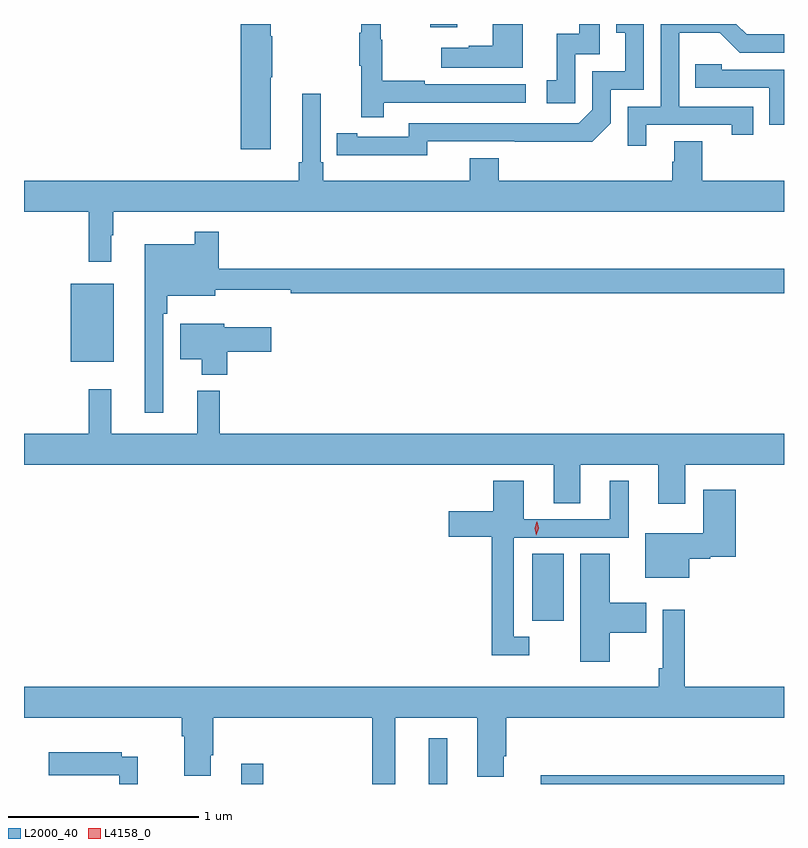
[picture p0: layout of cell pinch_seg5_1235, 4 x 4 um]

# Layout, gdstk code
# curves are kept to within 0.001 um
import gdstk
lib = gdstk.Library(unit=1e-6, precision=1e-09)
def R(c, l, rs):  # rectangles x0, y0, x1, y1
    for r in rs: c.add(gdstk.rectangle(r[:2], r[2:], *l))
def P(c, l, *ps):  # polygons
    for p in ps: c.add(gdstk.Polygon(p, *l))
L2000_40 = (2000, 40)
L4158_0 = (4158, 0)

pinch_seg5_1235 = lib.new_cell('pinch_seg5_1235')
R(pinch_seg5_1235, L2000_40, [(458.615,865.736,458.732,865.843), (459.602,865.736,459.7,865.978), (460.191,865.736,461.472,865.783), (460.148,866.595,460.312,866.948), (457.718,867.959,457.945,868.369), (459.611,869.718,459.751,869.736)])
P(pinch_seg5_1235, L2000_40, [(460.747,869.205),(461.198,869.205),(461.198,869.154),(461.309,869.154),(461.309,869.301),(460.92,869.301),(460.92,869.69),(461.134,869.69),(461.238,869.586),(461.472,869.586),(461.472,869.682),(461.275,869.682),(461.221,869.736),(460.824,869.736),(460.824,869.301),(460.65,869.301),(460.65,869.094),(460.747,869.094)],
  [(460.374,869.577),(460.503,869.577),(460.503,869.736),(460.395,869.736),(460.395,869.686),(460.277,869.686),(460.277,869.439),(460.224,869.439),(460.224,869.319),(460.374,869.319)],
  [(459.365,869.322),(460.114,869.322),(460.114,869.418),(459.581,869.418),(459.581,869.438),(459.358,869.438),(459.358,869.652),(459.35,869.652),(459.35,869.736),(459.248,869.736),(459.248,869.689),(459.237,869.689),(459.237,869.515),(459.248,869.515),(459.248,869.244),(459.365,869.244)],
  [(458.77,869.455),(458.778,869.455),(458.778,869.672),(458.77,869.672),(458.77,869.736),(458.612,869.736),(458.612,869.076),(458.77,869.076)],
  [(460.096,869.736),(459.938,869.736),(459.938,869.621),(459.812,869.621),(459.812,869.611),(459.669,869.611),(459.669,869.507),(460.096,869.507)],
  [(459.594,869.118),(460.462,869.117),(460.56,869.214),(460.56,869.391),(460.734,869.391),(460.734,869.736),(460.588,869.736),(460.588,869.691),(460.637,869.691),(460.637,869.487),(460.464,869.487),(460.464,869.286),(460.392,869.214),(459.498,869.214),(459.498,869.142),(459.226,869.142),(459.226,869.162),(459.118,869.162),(459.118,869.046),(459.594,869.045)],
  [(461.472,869.496),(461.145,869.496),(461.145,869.523),(461.005,869.523),(461.005,869.4),(461.394,869.4),(461.394,869.205),(461.472,869.205)],
  [(457.93,868.625),(457.942,868.625),(457.942,868.748),(461.472,868.748),(461.472,868.912),(461.043,868.912),(461.043,869.12),(460.895,869.12),(460.895,869.01),(460.883,869.01),(460.883,868.912),(459.971,868.912),(459.971,869.029),(459.818,869.029),(459.818,868.912),(459.047,868.912),(459.047,869.008),(459.033,869.008),(459.033,869.368),(458.936,869.368),(458.936,869.008),(458.917,869.008),(458.917,868.912),(457.472,868.912),(457.472,868.748),(457.813,868.748),(457.813,868.485),(457.93,868.485)],
  [(458.205,868.211),(458.225,868.211),(458.225,868.307),(458.479,868.307),(458.479,868.337),(458.875,868.337),(458.875,868.318),(461.472,868.318),(461.472,868.447),(458.498,868.447),(458.498,868.642),(458.37,868.642),(458.37,868.576),(458.108,868.576),(458.108,867.69),(458.205,867.69)],
  [(458.543,868.012),(458.773,868.012),(458.773,868.141),(458.526,868.141),(458.526,868.159),(458.294,868.159),(458.294,867.971),(458.408,867.971),(458.408,867.89),(458.543,867.89)],
  [(460.951,867.416),(461.472,867.416),(461.472,867.58),(458.501,867.58),(458.501,867.805),(458.384,867.805),(458.384,867.58),(457.931,867.58),(457.931,867.814),(457.813,867.814),(457.813,867.58),(457.472,867.58),(457.472,867.416),(460.259,867.416),(460.259,867.214),(460.399,867.214),(460.399,867.416),(460.811,867.416),(460.811,867.21),(460.951,867.21)],
  [(460.132,866.511),(460.05,866.511),(460.05,867.033),(460.654,867.033),(460.654,867.331),(460.556,867.331),(460.556,867.129),(460.102,867.129),(460.102,867.331),(459.941,867.331),(459.941,867.172),(459.708,867.172),(459.708,867.038),(459.934,867.038),(459.934,866.414),(460.132,866.414)],
  [(460.972,866.921),(461.085,866.921),(461.085,866.933),(461.219,866.933),(461.219,867.286),(461.048,867.286),(461.048,867.055),(460.742,867.055),(460.742,866.822),(460.972,866.822)],
  [(460.555,866.531),(460.748,866.531),(460.748,866.689),(460.555,866.689),(460.555,866.948),(460.4,866.948),(460.4,866.379),(460.555,866.379)],
  [(459.427,866.084),(459.857,866.084),(459.857,865.775),(459.997,865.775),(459.997,865.882),(460.01,865.882),(460.01,866.084),(461.472,866.084),(461.472,866.248),(460.949,866.248),(460.949,866.653),(460.833,866.653),(460.833,866.344),(460.813,866.344),(460.813,866.248),(457.472,866.248),(457.472,866.084),(458.303,866.084),(458.303,865.988),(458.315,865.988),(458.315,865.78),(458.455,865.78),(458.455,865.888),(458.468,865.888),(458.468,866.084),(459.306,866.084),(459.306,865.736),(459.427,865.736)],
  [(458.07,865.88),(457.986,865.88),(457.986,865.903),(457.602,865.903),(457.602,865.781),(457.877,865.781),(457.877,865.782),(457.974,865.782),(457.974,865.736),(458.07,865.736)])
P(pinch_seg5_1235, L4158_0, [(460.168,867.045),(460.168,867.045),(460.16,867.082),(460.171,867.117),(460.171,867.117),(460.172,867.117),(460.18,867.081),(460.169,867.045)])

lib.write_gds('pinch_seg5_1235.gds')
